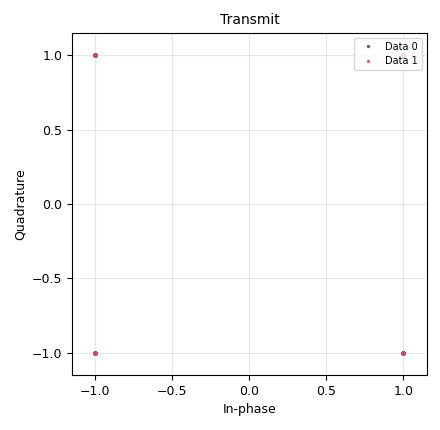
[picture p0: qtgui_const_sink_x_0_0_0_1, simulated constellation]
options:
  parameters:
    author: priyanka
    generate_options: qt_gui
    id: mimo_ofdm_pb
    output_language: python
    title: mimo_svd
  states: {}

blocks:
- name: noise_1
  id: variable_qtgui_range
  parameters:
    orient: Qt.Horizontal
    start: '0'
    step: '.1'
    stop: '1'
    value: '0'
  states: {}
- name: noise_2
  id: variable_qtgui_range
  parameters:
    orient: Qt.Horizontal
    start: '0'
    step: '.1'
    stop: '1'
    value: '0'
  states: {}
- name: samp_rate
  id: variable
  parameters:
    value: '32000'
  states: {}
- name: analog_noise_source_x_0
  id: analog_noise_source_x
  parameters:
    amp: noise_2
    noise_type: analog.GR_GAUSSIAN
    seed: '0'
    type: complex
  states: {}
- name: analog_noise_source_x_0_0
  id: analog_noise_source_x
  parameters:
    amp: noise_1
    noise_type: analog.GR_GAUSSIAN
    seed: '0'
    type: complex
  states: {}
- name: analog_random_source_x_0
  id: analog_random_source_x
  parameters:
    max: '4'
    min: '0'
    num_samps: '10000'
    repeat: 'True'
    type: byte
  states: {}
- name: blocks_add_xx_0
  id: blocks_add_xx
  parameters:
    num_inputs: '3'
    type: complex
  states: {}
- name: blocks_add_xx_0_0
  id: blocks_add_xx
  parameters:
    num_inputs: '3'
    type: complex
  states: {}
- name: blocks_deinterleave_0
  id: blocks_deinterleave
  parameters:
    type: complex
  states: {}
- name: blocks_multiply_matrix_xx_0
  id: blocks_multiply_matrix_xx
  parameters:
    A: ((-1,0),(0,-1))
    tag_propagation_policy: gr.TPP_ALL_TO_ALL
    type: complex
  states: {}
- name: blocks_multiply_matrix_xx_0_0
  id: blocks_multiply_matrix_xx
  parameters:
    A: ((-0.7071067811865472, -0.7071067811865475), (-0.7071067811865475, 0.7071067811865476))
    tag_propagation_policy: gr.TPP_ALL_TO_ALL
    type: complex
  states: {}
- name: blocks_throttle_0
  id: blocks_throttle
  parameters:
    samples_per_second: samp_rate
    type: complex
  states: {}
- name: digital_chunks_to_symbols_xx_0_0
  id: digital_chunks_to_symbols_xx
  parameters:
    dimension: '1'
    in_type: byte
    out_type: complex
    symbol_table: ((1+1j,-1+1j,-1-1j,1-1j))
  states: {}
- name: interp_fir_filter_xxx_0
  id: interp_fir_filter_xxx
  parameters:
    interp: '1'
    taps: ((1,0))
    type: ccc
  states: {}
- name: interp_fir_filter_xxx_0_0
  id: interp_fir_filter_xxx
  parameters:
    interp: '1'
    taps: ((1,0))
    type: ccc
  states: {}
- name: interp_fir_filter_xxx_0_0_0
  id: interp_fir_filter_xxx
  parameters:
    interp: '1'
    taps: ((1,0))
    type: ccc
  states: {}
- name: interp_fir_filter_xxx_0_0_0_0
  id: interp_fir_filter_xxx
  parameters:
    interp: '1'
    taps: ((-1,0))
    type: ccc
  states: {}
- name: ofdm_pb_0
  id: ofdm_pb
  parameters:
    tap0: '1'
  states: {}
- name: ofdm_pb_0_0
  id: ofdm_pb
  parameters:
    tap0: '1'
  states: {}
- name: ofdmpbrx_0
  id: ofdmpbrx
  parameters: {}
  states: {}
- name: ofdmpbrx_0_0
  id: ofdmpbrx
  parameters: {}
  states: {}
- name: qtgui_const_sink_x_0_0_0
  id: qtgui_const_sink_x
  parameters:
    autoscale: 'True'
    name: '"Received"'
    nconnections: '2'
    size: '1024'
    type: complex
  states: {}
- name: qtgui_const_sink_x_0_0_0_1
  id: qtgui_const_sink_x
  parameters:
    autoscale: 'True'
    name: '"Transmit"'
    nconnections: '2'
    size: '1024'
    type: complex
  states: {}
- name: svd2
  id: epy_module
  parameters:
    source_code: '# this module will be imported in the into your flowgraph'
  states: {}
- name: svd_pb
  id: epy_module
  parameters:
    source_code: '# this module will be imported in the into your flowgraph'
  states: {}

connections:
- [analog_noise_source_x_0, '0', blocks_add_xx_0_0, '2']
- [analog_noise_source_x_0_0, '0', blocks_add_xx_0, '2']
- [analog_random_source_x_0, '0', digital_chunks_to_symbols_xx_0_0, '0']
- [blocks_add_xx_0, '0', ofdmpbrx_0, '0']
- [blocks_add_xx_0_0, '0', ofdmpbrx_0_0, '0']
- [blocks_deinterleave_0, '0', blocks_multiply_matrix_xx_0, '0']
- [blocks_deinterleave_0, '0', qtgui_const_sink_x_0_0_0_1, '0']
- [blocks_deinterleave_0, '1', blocks_multiply_matrix_xx_0, '1']
- [blocks_deinterleave_0, '1', qtgui_const_sink_x_0_0_0_1, '1']
- [blocks_multiply_matrix_xx_0, '0', ofdm_pb_0, '0']
- [blocks_multiply_matrix_xx_0, '1', ofdm_pb_0_0, '0']
- [blocks_multiply_matrix_xx_0_0, '0', qtgui_const_sink_x_0_0_0, '0']
- [blocks_multiply_matrix_xx_0_0, '1', qtgui_const_sink_x_0_0_0, '1']
- [blocks_throttle_0, '0', blocks_deinterleave_0, '0']
- [digital_chunks_to_symbols_xx_0_0, '0', blocks_throttle_0, '0']
- [interp_fir_filter_xxx_0, '0', blocks_add_xx_0, '0']
- [interp_fir_filter_xxx_0_0, '0', blocks_add_xx_0_0, '0']
- [interp_fir_filter_xxx_0_0_0, '0', blocks_add_xx_0, '1']
- [interp_fir_filter_xxx_0_0_0_0, '0', blocks_add_xx_0_0, '1']
- [ofdm_pb_0, '0', interp_fir_filter_xxx_0, '0']
- [ofdm_pb_0, '0', interp_fir_filter_xxx_0_0, '0']
- [ofdm_pb_0_0, '0', interp_fir_filter_xxx_0_0_0, '0']
- [ofdm_pb_0_0, '0', interp_fir_filter_xxx_0_0_0_0, '0']
- [ofdmpbrx_0, '0', blocks_multiply_matrix_xx_0_0, '0']
- [ofdmpbrx_0_0, '0', blocks_multiply_matrix_xx_0_0, '1']

metadata:
  file_format: 1
